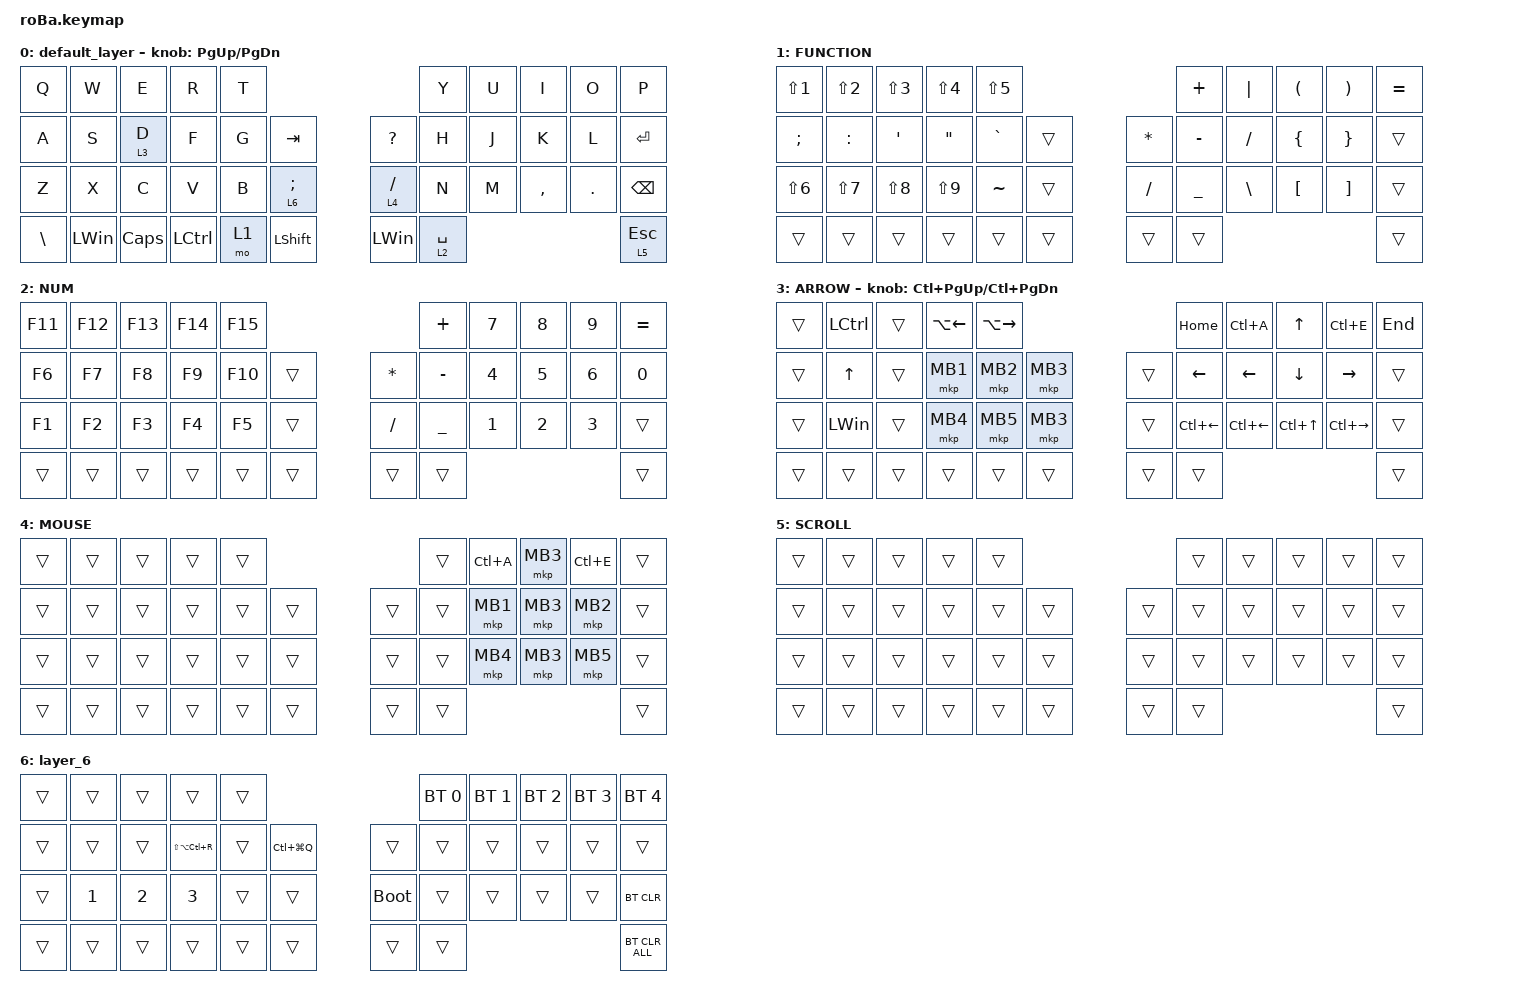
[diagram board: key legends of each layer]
#include <behaviors.dtsi>
#include <dt-bindings/zmk/bt.h>
#include <dt-bindings/zmk/keys.h>
#include <dt-bindings/zmk/pointing.h>

&mt {
    flavor = "balanced";
    quick-tap-ms = <0>;
};

&trackball {
    automouse-layer = <4>;
    scroll-layers = <5>;

    // arrows {
    //     layers = <3>;
    //     bindings =
    //         <&kp RIGHT_ARROW>,
    //         <&kp LEFT_ARROW>,
    //         <&kp UP_ARROW>,
    //         <&kp DOWN_ARROW>;
    //     tick = <10>;
    //     wait-ms = <5>;
    //     tap-ms = <5>;
    // };
};

/ {
    combos {
        compatible = "zmk,combos";

        tab {
            bindings = <&kp TAB>;
            key-positions = <11 12>;
        };

        shift_tab {
            bindings = <&kp LS(TAB)>;
            key-positions = <12 13>;
        };

        muhennkann {
            bindings = <&to_layer_0 INT_MUHENKAN>;
            key-positions = <11 10>;
        };

        double_quotation {
            bindings = <&kp DOUBLE_QUOTES>;
            key-positions = <20 21>;
        };

        eq {
            bindings = <&kp EQUAL>;
            key-positions = <24 25>;
        };
    };

    macros {
        to_layer_0: to_layer_0 {
            compatible = "zmk,behavior-macro-one-param";
            #binding-cells = <1>;
            bindings = <&to 0 &macro_param_1to1 &kp MACRO_PLACEHOLDER>;
            label = "TO_LAYER_0";
        };
    };

    behaviors {
        lt_to_layer_0: lt_to_layer_0 {
            compatible = "zmk,behavior-hold-tap";
            label = "LAYER_TAP_TO_0";
            bindings = <&mo>, <&to_layer_0>;
            #binding-cells = <2>;
            tapping-term-ms = <200>;
        };
    };

    keymap {
        compatible = "zmk,keymap";

        default_layer {
            bindings = <
&kp Q          &kp W         &kp E         &kp R                  &kp T                                                 &kp Y         &kp U         &kp I          &kp O          &kp P
&kp A          &kp S         &lt 3 D       &kp F                  &kp G          &kp TAB                      &kp QUESTION   &kp H         &kp J          &kp K          &kp L          &kp ENTER
&kp Z          &kp X         &kp C         &kp V                  &kp B          &lt_to_layer_0 6 SEMICOLON    &lt_to_layer_0 4 SLASH    &kp N         &kp M          &kp COMMA      &kp DOT        &kp BACKSPACE
&kp BACKSLASH  &kp LEFT_WIN  &kp CAPSLOCK  &kp LCTRL              &mo 1          &kp LEFT_SHIFT                &kp LEFT_WIN   &lt 2 SPACE                                                &lt 5 ESCAPE
            >;
            sensor-bindings = <&inc_dec_kp PG_UP PAGE_DOWN>;
        };

        FUNCTION {
            bindings = <
&kp LS(NUMBER_1)  &kp LS(NUMBER_2)  &kp LS(NUMBER_3)  &kp LS(NUMBER_4)    &kp LS(NUMBER_5)                                  &kp PLUS     &kp PIPE        &kp LEFT_PARENTHESIS  &kp RIGHT_PARENTHESIS  &kp EQUAL
&kp SEMICOLON     &kp COLON         &kp SQT           &kp DOUBLE_QUOTES   &kp GRAVE         &trans                 &kp ASTERISK  &kp MINUS       &kp SLASH             &kp LEFT_BRACE         &kp RIGHT_BRACE  &trans
&kp LS(NUMBER_6)  &kp LS(NUMBER_7)  &kp LS(NUMBER_8)  &kp LS(NUMBER_9)    &kp TILDE         &trans                 &kp SLASH     &kp UNDERSCORE  &kp BACKSLASH         &kp LEFT_BRACKET       &kp RIGHT_BRACKET  &trans
&trans            &trans            &trans            &trans               &trans            &trans                 &trans        &trans                                                           &trans
            >;
        };

        NUM {
            bindings = <
&kp F11  &kp F12  &kp F13  &kp F14  &kp F15                      &kp PLUS      &kp NUMBER_7      &kp NUMBER_8  &kp NUMBER_9  &kp EQUAL
&kp F6   &kp F7   &kp F8   &kp F9   &kp F10  &trans      &kp ASTERISK  &kp MINUS     &kp NUMBER_4      &kp NUMBER_5  &kp NUMBER_6  &kp NUMBER_0
&kp F1   &kp F2   &kp F3   &kp F4   &kp F5   &trans      &kp SLASH     &kp UNDERSCORE  &kp NUMBER_1    &kp NUMBER_2  &kp NUMBER_3  &trans
&trans   &trans   &trans   &trans   &trans   &trans      &trans        &trans                                                   &trans
            >;
        };

        ARROW {
            bindings = <
&trans  &kp LCTRL     &trans  &kp LA(LEFT_ARROW)  &kp LA(RIGHT_ARROW)                              &kp HOME    &kp LC(A)          &kp UP_ARROW    &kp LC(E)           &kp END
&trans  &kp UP_ARROW  &trans  &mkp MB1            &mkp MB2             &mkp MB3      &trans      &kp LEFT_ARROW  &kp LEFT_ARROW     &kp DOWN_ARROW  &kp RIGHT_ARROW  &trans
&trans  &kp LEFT_WIN  &trans  &mkp MB4            &mkp MB5             &mkp MB3      &trans      &kp LC(LEFT_ARROW)  &kp LC(LEFT_ARROW)  &kp LC(UP_ARROW)  &kp LC(RIGHT_ARROW)  &trans
&trans  &trans        &trans  &trans               &trans               &trans        &trans      &trans                                                              &trans
            >;
            sensor-bindings = <&inc_dec_kp LC(PAGE_UP) LC(PAGE_DOWN)>;
        };

        MOUSE {
            bindings = <
&trans  &trans  &trans  &trans  &trans                      &trans  &kp LC(A)  &mkp MB3  &kp LC(E)  &trans
&trans  &trans  &trans  &trans  &trans  &trans      &trans  &trans     &mkp MB1  &mkp MB3  &mkp MB2  &trans
&trans  &trans  &trans  &trans  &trans  &trans      &trans  &trans     &mkp MB4  &mkp MB3  &mkp MB5  &trans
&trans  &trans  &trans  &trans  &trans  &trans      &trans  &trans                                   &trans
            >;
        };

        SCROLL {
            bindings = <
&trans  &trans  &trans  &trans  &trans                      &trans  &trans  &trans  &trans  &trans
&trans  &trans  &trans  &trans  &trans  &trans      &trans  &trans  &trans  &trans  &trans  &trans
&trans  &trans  &trans  &trans  &trans  &trans      &trans  &trans  &trans  &trans  &trans  &trans
&trans  &trans  &trans  &trans  &trans  &trans      &trans  &trans                          &trans
            >;
        };

        layer_6 {
            bindings = <
&trans  &trans        &trans        &trans                  &trans                           &bt BT_SEL 0  &bt BT_SEL 1  &bt BT_SEL 2  &bt BT_SEL 3  &bt BT_SEL 4
&trans  &trans        &trans        &kp LS(LA(LC(R)))      &trans  &kp LC(LG(Q))      &trans       &trans        &trans        &trans        &trans        &trans
&trans  &kp NUMBER_1  &kp NUMBER_2  &kp NUMBER_3           &trans  &trans             &bootloader  &trans        &trans        &trans        &trans        &bt BT_CLR
&trans  &trans        &trans        &trans                  &trans  &trans             &trans       &trans                                                  &bt BT_CLR_ALL
            >;
        };
    };
};
